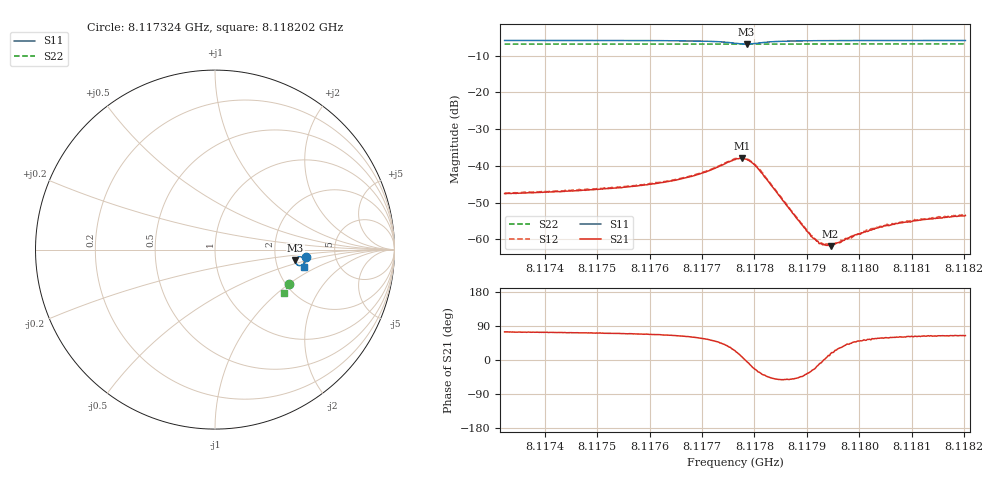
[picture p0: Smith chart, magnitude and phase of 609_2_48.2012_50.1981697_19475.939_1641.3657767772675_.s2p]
#  HZ  S  RI  R  50.00
! Rohde & Schwarz Vector Network Analyzer
! Rohde-Schwarz,ZNB20-2Port,1311601062101988,3.16
! Created: UTC 3/20/2024, 12:03:20 PM
! freq[Hz]  re:S11  im:S11  re:S21  im:S21  re:S12  im:S12  re:S22  im:S22
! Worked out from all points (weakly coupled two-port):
!   401 points, 8.117324 GHz to 8.118202 GHz, reference 50 ohm
!   highest |S21| = -37.94 dB at 8.117776 GHz (marker M1); lowest = -61.8 dB at 8.117945 GHz (marker M2)
!   lowest |S11| = -6.9 dB at 8.117785 GHz (marker M3), VSWR 2.65, Z = 129 - j19.6 ohm
!   |S11| at or under -10 dB: nowhere
!   |S22| runs from -6.9 to -6.8 dB; largest |S21 - S12| = 0.00047
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8.1173237e9  0.5054 -0.0399  0.00114 0.00402  0.00119 0.00408  0.4105 -0.1898
8.1174708e9  0.5035 -0.0532  0.00145 0.0044  0.00152 0.00446  0.4065 -0.1994
8.1175455e9  0.502 -0.0605  0.00175 0.00474  0.00181 0.00482  0.4042 -0.2043
8.117618e9  0.4994 -0.0689  0.0023 0.00534  0.00232 0.00549  0.4019 -0.2088
8.1176861e9  0.4931 -0.0797  0.0037 0.00637  0.00384 0.00652  0.3996 -0.2134
8.117719e9  0.485 -0.0863  0.00551 0.00698  0.00563 0.00716  0.3983 -0.2156
8.1177629e9  0.4574 -0.0842  0.011 0.00503  0.0115 0.0051  0.3957 -0.2176
8.1177761e9  0.4487 -0.0718  0.0125 0.00185  0.0129 0.00189  0.3951 -0.2179
8.1177849e9  0.448 -0.0604  0.0123 -0.000676  0.0124 -0.000799  0.395 -0.2179
8.1177959e9  0.4543 -0.0477  0.0103 -0.00351  0.0106 -0.00348  0.395 -0.2181
8.1178112e9  0.4691 -0.0399  0.00694 -0.0047  0.00729 -0.00493  0.3953 -0.2188
8.1178793e9  0.4967 -0.0559  0.00131 -0.00147  0.00135 -0.00152  0.3943 -0.2238
8.1179101e9  0.4988 -0.0625  0.000953 -0.000486  0.000992 -0.000521  0.3933 -0.2261
8.1179188e9  0.4991 -0.064  0.000903 -0.00027  0.000904 -0.000281  0.3931 -0.2264
8.1179298e9  0.4994 -0.0659  0.000839 -5.19e-05  0.000868 -5.75e-05  0.3928 -0.2273
8.1179452e9  0.4996 -0.0682  0.000775 0.000238  0.000831 0.000249  0.3922 -0.2284
8.1179628e9  0.4998 -0.0707  0.000766 0.000473  0.00077 0.000487  0.3917 -0.2295
8.1179957e9  0.4998 -0.0749  0.000749 0.000879  0.000806 0.000865  0.3907 -0.2316
8.1180177e9  0.4995 -0.0775  0.000753 0.00105  0.000802 0.00107  0.3898 -0.233
8.1180572e9  0.4992 -0.0817  0.000799 0.00132  0.000796 0.00135  0.3885 -0.2356
8.1181231e9  0.4984 -0.0878  0.000824 0.00167  0.00088 0.00168  0.3863 -0.2396
8.1182021e9  0.4973 -0.0948  0.000904 0.00189  0.000901 0.00195  0.3834 -0.2444
